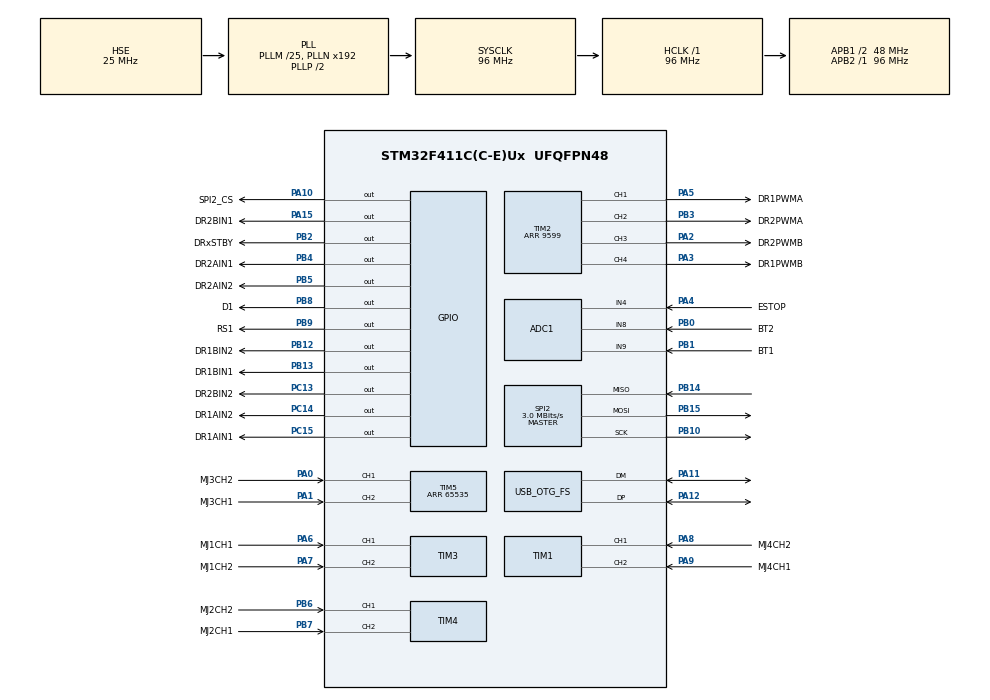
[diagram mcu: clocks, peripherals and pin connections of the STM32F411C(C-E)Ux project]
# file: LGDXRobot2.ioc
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ADC1.Channel-0\#ChannelRegularConversion=ADC_CHANNEL_9
ADC1.Channel-1\#ChannelRegularConversion=ADC_CHANNEL_8
ADC1.Channel-2\#ChannelRegularConversion=ADC_CHANNEL_4
ADC1.NbrOfConversion=3
ADC1.NbrOfConversionFlag=1
ADC1.Rank-0\#ChannelRegularConversion=1
ADC1.Rank-1\#ChannelRegularConversion=2
ADC1.Rank-2\#ChannelRegularConversion=3
ADC1.SamplingTime-0\#ChannelRegularConversion=ADC_SAMPLETIME_480CYCLES
ADC1.SamplingTime-1\#ChannelRegularConversion=ADC_SAMPLETIME_480CYCLES
ADC1.SamplingTime-2\#ChannelRegularConversion=ADC_SAMPLETIME_480CYCLES
ADC1.ScanConvMode=ENABLE
ADC1.master=1
Dma.ADC1.0.Direction=DMA_PERIPH_TO_MEMORY
Dma.ADC1.0.FIFOMode=DMA_FIFOMODE_DISABLE
Dma.ADC1.0.Instance=DMA2_Stream0
Dma.ADC1.0.MemDataAlignment=DMA_MDATAALIGN_WORD
Dma.ADC1.0.MemInc=DMA_MINC_ENABLE
Dma.ADC1.0.Mode=DMA_CIRCULAR
Dma.ADC1.0.PeriphDataAlignment=DMA_PDATAALIGN_WORD
Dma.ADC1.0.PeriphInc=DMA_PINC_DISABLE
Dma.ADC1.0.Priority=DMA_PRIORITY_LOW
Dma.Request0=ADC1
Mcu.Family=STM32F4
Mcu.Name=STM32F411C(C-E)Ux
Mcu.Package=UFQFPN48
NVIC.DMA2_Stream0_IRQn=true\:0\:0\:false\:false\:true\:false\:true\:true
NVIC.OTG_FS_IRQn=true\:0\:0\:false\:false\:true\:true\:true\:true
NVIC.PriorityGroup=NVIC_PRIORITYGROUP_4
NVIC.SPI2_IRQn=true\:0\:0\:false\:false\:true\:true\:true\:true
NVIC.TIM1_BRK_TIM9_IRQn=true\:0\:0\:false\:false\:true\:true\:true\:true
PA0-WKUP.GPIO_Label=MJ3CH2
PA0-WKUP.Signal=S_TIM5_CH1
PA1.GPIO_Label=MJ3CH1
PA1.Signal=S_TIM5_CH2
PA10.GPIO_Label=SPI2_CS
PA10.Signal=GPIO_Output
PA11.Mode=Device_Only
PA11.Signal=USB_OTG_FS_DM
PA12.Mode=Device_Only
PA12.Signal=USB_OTG_FS_DP
PA15.GPIO_Label=DR2BIN1
PA15.Signal=GPIO_Output
PA2.GPIO_Label=DR2PWMB
PA2.Signal=S_TIM2_CH3
PA3.GPIO_Label=DR1PWMB
PA3.Signal=S_TIM2_CH4
PA4.GPIO_Label=ESTOP
PA4.Signal=ADCx_IN4
PA5.GPIO_Label=DR1PWMA
PA5.Signal=S_TIM2_CH1_ETR
PA6.GPIO_Label=MJ1CH1
PA6.Signal=S_TIM3_CH1
PA7.GPIO_Label=MJ1CH2
PA7.Signal=S_TIM3_CH2
PA8.GPIO_Label=MJ4CH2
PA8.Signal=S_TIM1_CH1
PA9.GPIO_Label=MJ4CH1
PA9.Signal=S_TIM1_CH2
PB0.GPIO_Label=BT2
PB0.Signal=ADCx_IN8
PB1.GPIO_Label=BT1
PB1.Signal=ADCx_IN9
PB10.Mode=Full_Duplex_Master
PB10.Signal=SPI2_SCK
PB12.GPIO_Label=DR1BIN2
PB12.Signal=GPIO_Output
PB13.GPIO_Label=DR1BIN1
PB13.Signal=GPIO_Output
PB14.Mode=Full_Duplex_Master
PB14.Signal=SPI2_MISO
PB15.Mode=Full_Duplex_Master
PB15.Signal=SPI2_MOSI
PB2.GPIO_Label=DRxSTBY
PB2.Signal=GPIO_Output
PB3.GPIO_Label=DR2PWMA
PB3.Signal=S_TIM2_CH2
PB4.GPIO_Label=DR2AIN1
PB4.Signal=GPIO_Output
PB5.GPIO_Label=DR2AIN2
PB5.Signal=GPIO_Output
PB6.GPIO_Label=MJ2CH2
PB6.Signal=S_TIM4_CH1
PB7.GPIO_Label=MJ2CH1
PB7.Signal=S_TIM4_CH2
PB8.GPIO_Label=D1
PB8.Signal=GPIO_Output
PB9.GPIO_Label=RS1
PB9.Signal=GPIO_Output
PC13-ANTI_TAMP.GPIO_Label=DR2BIN2
PC13-ANTI_TAMP.Signal=GPIO_Output
PC14-OSC32_IN.GPIO_Label=DR1AIN2
PC14-OSC32_IN.Signal=GPIO_Output
PC15-OSC32_OUT.GPIO_Label=DR1AIN1
PC15-OSC32_OUT.Signal=GPIO_Output
PH0\ -\ OSC_IN.Mode=HSE-External-Oscillator
PH0\ -\ OSC_IN.Signal=RCC_OSC_IN
PH1\ -\ OSC_OUT.Mode=HSE-External-Oscillator
PH1\ -\ OSC_OUT.Signal=RCC_OSC_OUT
ProjectManager.HeapSize=0x200
ProjectManager.StackSize=0x400
ProjectManager.TargetToolchain=CMake
RCC.48MHZClocksFreq_Value=48000000
RCC.AHBFreq_Value=96000000
RCC.APB1CLKDivider=RCC_HCLK_DIV2
RCC.APB1Freq_Value=48000000
RCC.APB1TimFreq_Value=96000000
RCC.APB2Freq_Value=96000000
RCC.APB2TimFreq_Value=96000000
RCC.CortexFreq_Value=96000000
RCC.HCLKFreq_Value=96000000
RCC.HSE_VALUE=25000000
RCC.HSI_VALUE=16000000
RCC.LSE_VALUE=32768
RCC.PLLM=25
RCC.SYSCLKFreq_VALUE=96000000
RCC.SYSCLKSource=RCC_SYSCLKSOURCE_PLLCLK
RCC.VCOOutputFreq_Value=192000000
SH.ADCx_IN4.0=ADC1_IN4,IN4
SH.ADCx_IN8.0=ADC1_IN8,IN8
SH.ADCx_IN9.0=ADC1_IN9,IN9
SH.S_TIM1_CH1.0=TIM1_CH1,Encoder_Interface
SH.S_TIM1_CH2.0=TIM1_CH2,Encoder_Interface
SH.S_TIM2_CH1_ETR.0=TIM2_CH1,PWM Generation1 CH1
SH.S_TIM2_CH2.0=TIM2_CH2,PWM Generation2 CH2
SH.S_TIM2_CH3.0=TIM2_CH3,PWM Generation3 CH3
SH.S_TIM2_CH4.0=TIM2_CH4,PWM Generation4 CH4
SH.S_TIM3_CH1.0=TIM3_CH1,Encoder_Interface
SH.S_TIM3_CH2.0=TIM3_CH2,Encoder_Interface
SH.S_TIM4_CH1.0=TIM4_CH1,Encoder_Interface
SH.S_TIM4_CH2.0=TIM4_CH2,Encoder_Interface
SH.S_TIM5_CH1.0=TIM5_CH1,Encoder_Interface
SH.S_TIM5_CH2.0=TIM5_CH2,Encoder_Interface
SPI2.BaudRatePrescaler=SPI_BAUDRATEPRESCALER_16
SPI2.CLKPhase=SPI_PHASE_2EDGE
SPI2.CLKPolarity=SPI_POLARITY_HIGH
SPI2.CalculateBaudRate=3.0 MBits/s
SPI2.Direction=SPI_DIRECTION_2LINES
SPI2.Mode=SPI_MODE_MASTER
SPI2.VirtualType=VM_MASTER
TIM1.EncoderMode=TIM_ENCODERMODE_TI12
TIM1.IC1Filter=10
TIM1.IC2Filter=10
TIM2.Channel-PWM\ Generation1\ CH1=TIM_CHANNEL_1
TIM2.Channel-PWM\ Generation2\ CH2=TIM_CHANNEL_2
TIM2.Channel-PWM\ Generation3\ CH3=TIM_CHANNEL_3
TIM2.Channel-PWM\ Generation4\ CH4=TIM_CHANNEL_4
TIM2.Period=9599
TIM3.EncoderMode=TIM_ENCODERMODE_TI12
TIM3.IC1Filter=10
TIM3.IC2Filter=10
TIM4.EncoderMode=TIM_ENCODERMODE_TI12
TIM4.IC1Filter=10
TIM4.IC2Filter=10
TIM5.CounterMode=TIM_COUNTERMODE_UP
TIM5.EncoderMode=TIM_ENCODERMODE_TI12
TIM5.IC1Filter=10
TIM5.IC1Polarity=TIM_ICPOLARITY_RISING
TIM5.IC2Filter=10
TIM5.Period=65535
TIM9.Period=59999
TIM9.Prescaler=15
USB_DEVICE.CLASS_NAME_FS=CDC
USB_DEVICE.MANUFACTURER_STRING=LGDXRobotics
USB_DEVICE.PID_CDC_FS=30345
USB_DEVICE.PRODUCT_STRING_CDC_FS=\ LGDXRobot2
USB_DEVICE.VID=4617
USB_DEVICE.VirtualMode=Cdc
USB_DEVICE.VirtualModeFS=Cdc_FS
USB_OTG_FS.VirtualMode=Device_Only
VP_TIM2_VS_ClockSourceINT.Mode=Internal
VP_TIM9_VS_ClockSourceINT.Mode=Internal
VP_USB_DEVICE_VS_USB_DEVICE_CDC_FS.Mode=CDC_FS
board=custom

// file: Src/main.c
/* USER CODE BEGIN Header */
/**
  ******************************************************************************
  * @file           : main.c
  * @brief          : Main program body
  ******************************************************************************
  * @attention
  *
  * Copyright (c) 2025 STMicroelectronics.
  * All rights reserved.
  *
  * This software is licensed under terms that can be found in the LICENSE file
  * in the root directory of this software component.
  * If no LICENSE file comes with this software, it is provided AS-IS.
  *
  ******************************************************************************
  */
/* USER CODE END Header */
#include "main.h"
#include "usb_device.h"

/* USER CODE BEGIN Includes */
#include "configuation.h"
#include "motor.h"
#include "estop.h"
#include "power.h"
#include "imu.h"
#include "usbd_cdc_if.h"

/* USER CODE END Includes */

ADC_HandleTypeDef hadc1;
DMA_HandleTypeDef hdma_adc1;

SPI_HandleTypeDef hspi2;

TIM_HandleTypeDef htim1;
TIM_HandleTypeDef htim2;
TIM_HandleTypeDef htim3;
TIM_HandleTypeDef htim4;
TIM_HandleTypeDef htim5;
TIM_HandleTypeDef htim9;

/* USER CODE BEGIN PV */
McuData mcu_data = {0};

/* USER CODE END PV */

void SystemClock_Config(void);
static void MX_GPIO_Init(void);
static void MX_DMA_Init(void);
static void MX_TIM1_Init(void);
static void MX_TIM2_Init(void);
static void MX_TIM3_Init(void);
static void MX_TIM4_Init(void);
static void MX_TIM5_Init(void);
static void MX_TIM9_Init(void);
static void MX_ADC1_Init(void);
static void MX_SPI2_Init(void);

/* USER CODE BEGIN 0 */
void Handling_Mcu_Data()
{
  mcu_data.header1 = MCU_HEADER1;
  mcu_data.header2 = MCU_HEADER2;
  mcu_data.header3 = MCU_HEADER3;
  mcu_data.header4 = MCU_HEADER4;
  mcu_data.type = MCU_DATA_TYPE;
  mcu_data.response_time = MOTOR_Get_Pid_Elapsed();
  mcu_data.transform.x = MOTOR_Get_Transform(0);
  mcu_data.transform.y = MOTOR_Get_Transform(1);
  mcu_data.transform.rotation = MOTOR_Get_Transform(2);
  mcu_data.forward_kinematic.x = MOTOR_Get_Forward_Kinematic(0);
  mcu_data.forward_kinematic.y = MOTOR_Get_Forward_Kinematic(1);
  mcu_data.forward_kinematic.rotation = MOTOR_Get_Forward_Kinematic(2);
  for (int i = 0; i < API_MOTOR_COUNT; i++)
  {
    mcu_data.motors_target_velocity[i] = MOTOR_Get_Target_Velocity(i);
    mcu_data.motors_actual_velocity[i] = MOTOR_Get_Actual_Velocity(i);
    mcu_data.motors_desire_velocity[i] = MOTOR_Get_Desired_Velocity(i);
  }
  mcu_data.motors_ccr[0] = TIM2->CCR4;
  mcu_data.motors_ccr[1] = TIM2->CCR2;
  mcu_data.motors_ccr[2] = TIM2->CCR1;
  mcu_data.motors_ccr[3] = TIM2->CCR3;
  mcu_data.battery1.voltage = POWER_Get_Value(logic_battery);
  mcu_data.battery2.voltage = POWER_Get_Value(actuator_battery);
  mcu_data.software_emergency_stop_enabled = ESTOP_Get_Status(software_emergency_stop);
  mcu_data.hardware_emergency_stop_enabled = ESTOP_Get_Status(hardware_emergency_stop);
  mcu_data.bettery_low_emergency_stop_enabled = ESTOP_Get_Status(bettery_low_emergency_stop);
  mcu_data.imu = IMU_Get_Data();
  CDC_Transmit_FS((uint8_t*) &mcu_data, sizeof(McuData));
}

void HAL_TIM_PeriodElapsedCallback(TIM_HandleTypeDef *htim)
{
	if(htim->Instance == htim9.Instance)
	{
		MOTOR_PID();
    Handling_Mcu_Data();
    IMU_Read_Start(); // This read power to pevent conflict
	}
}

/* USER CODE END 0 */

int main(void)
{

  /* MCU Configuration--------------------------------------------------------*/

  /* Reset of all peripherals, Initializes the Flash interface and the Systick. */
  HAL_Init();

  /* Configure the system clock */
  SystemClock_Config();

  /* Initialize all configured peripherals */
  MX_GPIO_Init();
  MX_DMA_Init();
  MX_TIM1_Init();
  MX_TIM2_Init();
  MX_TIM3_Init();
  MX_TIM4_Init();
  MX_TIM5_Init();
  MX_TIM9_Init();
  MX_USB_DEVICE_Init();
  MX_ADC1_Init();
  MX_SPI2_Init();
  /* USER CODE BEGIN 2 */
  HAL_GPIO_WritePin(D1_GPIO_Port, D1_Pin, GPIO_PIN_SET);
  IMU_Init(&hspi2);
  POWER_Init(&hadc1);
  MOTOR_Init(&htim2, &htim3, &htim4, &htim5, &htim1);
  ESTOP_Init();

	HAL_TIM_Base_Start_IT(&htim9);

  MOTOR_Reset_Transform();
  MOTOR_Set_Ik(0, 0, 0);

  /* USER CODE END 2 */

  /* Infinite loop */
  while (1)
  {

  }
}

void SystemClock_Config(void)
{
  RCC_OscInitTypeDef RCC_OscInitStruct = {0};
  RCC_ClkInitTypeDef RCC_ClkInitStruct = {0};

  /** Configure the main internal regulator output voltage
  */
  __HAL_RCC_PWR_CLK_ENABLE();
  __HAL_PWR_VOLTAGESCALING_CONFIG(PWR_REGULATOR_VOLTAGE_SCALE1);

  /** Initializes the RCC Oscillators according to the specified parameters
  * in the RCC_OscInitTypeDef structure.
  */
  RCC_OscInitStruct.OscillatorType = RCC_OSCILLATORTYPE_HSE;
  RCC_OscInitStruct.HSEState = RCC_HSE_ON;
  RCC_OscInitStruct.PLL.PLLState = RCC_PLL_ON;
  RCC_OscInitStruct.PLL.PLLSource = RCC_PLLSOURCE_HSE;
  RCC_OscInitStruct.PLL.PLLM = 25;
  RCC_OscInitStruct.PLL.PLLN = 192;
  RCC_OscInitStruct.PLL.PLLP = RCC_PLLP_DIV2;
  RCC_OscInitStruct.PLL.PLLQ = 4;
  if (HAL_RCC_OscConfig(&RCC_OscInitStruct) != HAL_OK)
  {
    Error_Handler();
  }

  /** Initializes the CPU, AHB and APB buses clocks
  */
  RCC_ClkInitStruct.ClockType = RCC_CLOCKTYPE_HCLK|RCC_CLOCKTYPE_SYSCLK
                              |RCC_CLOCKTYPE_PCLK1|RCC_CLOCKTYPE_PCLK2;
  RCC_ClkInitStruct.SYSCLKSource = RCC_SYSCLKSOURCE_PLLCLK;
  RCC_ClkInitStruct.AHBCLKDivider = RCC_SYSCLK_DIV1;
  RCC_ClkInitStruct.APB1CLKDivider = RCC_HCLK_DIV2;
  RCC_ClkInitStruct.APB2CLKDivider = RCC_HCLK_DIV1;

  if (HAL_RCC_ClockConfig(&RCC_ClkInitStruct, FLASH_LATENCY_3) != HAL_OK)
  {
    Error_Handler();
  }
}

static void MX_ADC1_Init(void)
{

  ADC_ChannelConfTypeDef sConfig = {0};

  /** Configure the global features of the ADC (Clock, Resolution, Data Alignment and number of conversion)
  */
  hadc1.Instance = ADC1;
  hadc1.Init.ClockPrescaler = ADC_CLOCK_SYNC_PCLK_DIV4;
  hadc1.Init.Resolution = ADC_RESOLUTION_12B;
  hadc1.Init.ScanConvMode = ENABLE;
  hadc1.Init.ContinuousConvMode = DISABLE;
  hadc1.Init.DiscontinuousConvMode = DISABLE;
  hadc1.Init.ExternalTrigConvEdge = ADC_EXTERNALTRIGCONVEDGE_NONE;
  hadc1.Init.ExternalTrigConv = ADC_SOFTWARE_START;
  hadc1.Init.DataAlign = ADC_DATAALIGN_RIGHT;
  hadc1.Init.NbrOfConversion = 3;
  hadc1.Init.DMAContinuousRequests = DISABLE;
  hadc1.Init.EOCSelection = ADC_EOC_SINGLE_CONV;
  if (HAL_ADC_Init(&hadc1) != HAL_OK)
  {
    Error_Handler();
  }

  /** Configure for the selected ADC regular channel its corresponding rank in the sequencer and its sample time.
  */
  sConfig.Channel = ADC_CHANNEL_9;
  sConfig.Rank = 1;
  sConfig.SamplingTime = ADC_SAMPLETIME_480CYCLES;
  if (HAL_ADC_ConfigChannel(&hadc1, &sConfig) != HAL_OK)
  {
    Error_Handler();
  }

  /** Configure for the selected ADC regular channel its corresponding rank in the sequencer and its sample time.
  */
  sConfig.Channel = ADC_CHANNEL_8;
  sConfig.Rank = 2;
  if (HAL_ADC_ConfigChannel(&hadc1, &sConfig) != HAL_OK)
  {
    Error_Handler();
  }

  /** Configure for the selected ADC regular channel its corresponding rank in the sequencer and its sample time.
  */
  sConfig.Channel = ADC_CHANNEL_4;
  sConfig.Rank = 3;
  if (HAL_ADC_ConfigChannel(&hadc1, &sConfig) != HAL_OK)
  {
    Error_Handler();
  }

}

static void MX_SPI2_Init(void)
{

  /* SPI2 parameter configuration*/
  hspi2.Instance = SPI2;
  hspi2.Init.Mode = SPI_MODE_MASTER;
  hspi2.Init.Direction = SPI_DIRECTION_2LINES;
  hspi2.Init.DataSize = SPI_DATASIZE_8BIT;
  hspi2.Init.CLKPolarity = SPI_POLARITY_HIGH;
  hspi2.Init.CLKPhase = SPI_PHASE_2EDGE;
  hspi2.Init.NSS = SPI_NSS_SOFT;
  hspi2.Init.BaudRatePrescaler = SPI_BAUDRATEPRESCALER_16;
  hspi2.Init.FirstBit = SPI_FIRSTBIT_MSB;
  hspi2.Init.TIMode = SPI_TIMODE_DISABLE;
  hspi2.Init.CRCCalculation = SPI_CRCCALCULATION_DISABLE;
  hspi2.Init.CRCPolynomial = 10;
  if (HAL_SPI_Init(&hspi2) != HAL_OK)
  {
    Error_Handler();
  }

}

static void MX_TIM1_Init(void)
{

  TIM_Encoder_InitTypeDef sConfig = {0};
  TIM_MasterConfigTypeDef sMasterConfig = {0};

  htim1.Instance = TIM1;
  htim1.Init.Prescaler = 0;
  htim1.Init.CounterMode = TIM_COUNTERMODE_UP;
  htim1.Init.Period = 65535;
  htim1.Init.ClockDivision = TIM_CLOCKDIVISION_DIV1;
  htim1.Init.RepetitionCounter = 0;
  htim1.Init.AutoReloadPreload = TIM_AUTORELOAD_PRELOAD_DISABLE;
  sConfig.EncoderMode = TIM_ENCODERMODE_TI12;
  sConfig.IC1Polarity = TIM_ICPOLARITY_RISING;
  sConfig.IC1Selection = TIM_ICSELECTION_DIRECTTI;
  sConfig.IC1Prescaler = TIM_ICPSC_DIV1;
  sConfig.IC1Filter = 10;
  sConfig.IC2Polarity = TIM_ICPOLARITY_RISING;
  sConfig.IC2Selection = TIM_ICSELECTION_DIRECTTI;
  sConfig.IC2Prescaler = TIM_ICPSC_DIV1;
  sConfig.IC2Filter = 10;
  if (HAL_TIM_Encoder_Init(&htim1, &sConfig) != HAL_OK)
  {
    Error_Handler();
  }
  sMasterConfig.MasterOutputTrigger = TIM_TRGO_RESET;
  sMasterConfig.MasterSlaveMode = TIM_MASTERSLAVEMODE_DISABLE;
  if (HAL_TIMEx_MasterConfigSynchronization(&htim1, &sMasterConfig) != HAL_OK)
  {
    Error_Handler();
  }

}

static void MX_TIM2_Init(void)
{

  TIM_ClockConfigTypeDef sClockSourceConfig = {0};
  TIM_MasterConfigTypeDef sMasterConfig = {0};
  TIM_OC_InitTypeDef sConfigOC = {0};

  htim2.Instance = TIM2;
  htim2.Init.Prescaler = 0;
  htim2.Init.CounterMode = TIM_COUNTERMODE_UP;
  htim2.Init.Period = 9599;
  htim2.Init.ClockDivision = TIM_CLOCKDIVISION_DIV1;
  htim2.Init.AutoReloadPreload = TIM_AUTORELOAD_PRELOAD_DISABLE;
  if (HAL_TIM_Base_Init(&htim2) != HAL_OK)
  {
    Error_Handler();
  }
  sClockSourceConfig.ClockSource = TIM_CLOCKSOURCE_INTERNAL;
  if (HAL_TIM_ConfigClockSource(&htim2, &sClockSourceConfig) != HAL_OK)
  {
    Error_Handler();
  }
  if (HAL_TIM_PWM_Init(&htim2) != HAL_OK)
  {
    Error_Handler();
  }
  sMasterConfig.MasterOutputTrigger = TIM_TRGO_RESET;
  sMasterConfig.MasterSlaveMode = TIM_MASTERSLAVEMODE_DISABLE;
  if (HAL_TIMEx_MasterConfigSynchronization(&htim2, &sMasterConfig) != HAL_OK)
  {
    Error_Handler();
  }
  sConfigOC.OCMode = TIM_OCMODE_PWM1;
  sConfigOC.Pulse = 0;
  sConfigOC.OCPolarity = TIM_OCPOLARITY_HIGH;
  sConfigOC.OCFastMode = TIM_OCFAST_DISABLE;
  if (HAL_TIM_PWM_ConfigChannel(&htim2, &sConfigOC, TIM_CHANNEL_1) != HAL_OK)
  {
    Error_Handler();
  }
  if (HAL_TIM_PWM_ConfigChannel(&htim2, &sConfigOC, TIM_CHANNEL_2) != HAL_OK)
  {
    Error_Handler();
  }
  if (HAL_TIM_PWM_ConfigChannel(&htim2, &sConfigOC, TIM_CHANNEL_3) != HAL_OK)
  {
    Error_Handler();
  }
  if (HAL_TIM_PWM_ConfigChannel(&htim2, &sConfigOC, TIM_CHANNEL_4) != HAL_OK)
  {
    Error_Handler();
  }
  HAL_TIM_MspPostInit(&htim2);

}

static void MX_TIM3_Init(void)
{

  TIM_Encoder_InitTypeDef sConfig = {0};
  TIM_MasterConfigTypeDef sMasterConfig = {0};

  htim3.Instance = TIM3;
  htim3.Init.Prescaler = 0;
  htim3.Init.CounterMode = TIM_COUNTERMODE_UP;
  htim3.Init.Period = 65535;
  htim3.Init.ClockDivision = TIM_CLOCKDIVISION_DIV1;
  htim3.Init.AutoReloadPreload = TIM_AUTORELOAD_PRELOAD_DISABLE;
  sConfig.EncoderMode = TIM_ENCODERMODE_TI12;
  sConfig.IC1Polarity = TIM_ICPOLARITY_RISING;
  sConfig.IC1Selection = TIM_ICSELECTION_DIRECTTI;
  sConfig.IC1Prescaler = TIM_ICPSC_DIV1;
  sConfig.IC1Filter = 10;
  sConfig.IC2Polarity = TIM_ICPOLARITY_RISING;
  sConfig.IC2Selection = TIM_ICSELECTION_DIRECTTI;
  sConfig.IC2Prescaler = TIM_ICPSC_DIV1;
  sConfig.IC2Filter = 10;
  if (HAL_TIM_Encoder_Init(&htim3, &sConfig) != HAL_OK)
  {
    Error_Handler();
  }
  sMasterConfig.MasterOutputTrigger = TIM_TRGO_RESET;
  sMasterConfig.MasterSlaveMode = TIM_MASTERSLAVEMODE_DISABLE;
  if (HAL_TIMEx_MasterConfigSynchronization(&htim3, &sMasterConfig) != HAL_OK)
  {
    Error_Handler();
  }

}

static void MX_TIM4_Init(void)
{

  TIM_Encoder_InitTypeDef sConfig = {0};
  TIM_MasterConfigTypeDef sMasterConfig = {0};

  htim4.Instance = TIM4;
  htim4.Init.Prescaler = 0;
  htim4.Init.CounterMode = TIM_COUNTERMODE_UP;
  htim4.Init.Period = 65535;
  htim4.Init.ClockDivision = TIM_CLOCKDIVISION_DIV1;
  htim4.Init.AutoReloadPreload = TIM_AUTORELOAD_PRELOAD_DISABLE;
  sConfig.EncoderMode = TIM_ENCODERMODE_TI12;
  sConfig.IC1Polarity = TIM_ICPOLARITY_RISING;
  sConfig.IC1Selection = TIM_ICSELECTION_DIRECTTI;
  sConfig.IC1Prescaler = TIM_ICPSC_DIV1;
  sConfig.IC1Filter = 10;
  sConfig.IC2Polarity = TIM_ICPOLARITY_RISING;
  sConfig.IC2Selection = TIM_ICSELECTION_DIRECTTI;
  sConfig.IC2Prescaler = TIM_ICPSC_DIV1;
  sConfig.IC2Filter = 10;
  if (HAL_TIM_Encoder_Init(&htim4, &sConfig) != HAL_OK)
  {
    Error_Handler();
  }
  sMasterConfig.MasterOutputTrigger = TIM_TRGO_RESET;
  sMasterConfig.MasterSlaveMode = TIM_MASTERSLAVEMODE_DISABLE;
  if (HAL_TIMEx_MasterConfigSynchronization(&htim4, &sMasterConfig) != HAL_OK)
  {
    Error_Handler();
  }

}

static void MX_TIM5_Init(void)
{

  TIM_Encoder_InitTypeDef sConfig = {0};
  TIM_MasterConfigTypeDef sMasterConfig = {0};

  htim5.Instance = TIM5;
  htim5.Init.Prescaler = 0;
  htim5.Init.CounterMode = TIM_COUNTERMODE_UP;
  htim5.Init.Period = 65535;
  htim5.Init.ClockDivision = TIM_CLOCKDIVISION_DIV1;
  htim5.Init.AutoReloadPreload = TIM_AUTORELOAD_PRELOAD_DISABLE;
  sConfig.EncoderMode = TIM_ENCODERMODE_TI12;
  sConfig.IC1Polarity = TIM_ICPOLARITY_RISING;
  sConfig.IC1Selection = TIM_ICSELECTION_DIRECTTI;
  sConfig.IC1Prescaler = TIM_ICPSC_DIV1;
  sConfig.IC1Filter = 10;
  sConfig.IC2Polarity = TIM_ICPOLARITY_RISING;
  sConfig.IC2Selection = TIM_ICSELECTION_DIRECTTI;
  sConfig.IC2Prescaler = TIM_ICPSC_DIV1;
  sConfig.IC2Filter = 10;
  if (HAL_TIM_Encoder_Init(&htim5, &sConfig) != HAL_OK)
  {
    Error_Handler();
  }
  sMasterConfig.MasterOutputTrigger = TIM_TRGO_RESET;
  sMasterConfig.MasterSlaveMode = TIM_MASTERSLAVEMODE_DISABLE;
  if (HAL_TIMEx_MasterConfigSynchronization(&htim5, &sMasterConfig) != HAL_OK)
  {
    Error_Handler();
  }

}

static void MX_TIM9_Init(void)
{

  TIM_ClockConfigTypeDef sClockSourceConfig = {0};

  htim9.Instance = TIM9;
  htim9.Init.Prescaler = 15;
  htim9.Init.CounterMode = TIM_COUNTERMODE_UP;
  htim9.Init.Period = 59999;
  htim9.Init.ClockDivision = TIM_CLOCKDIVISION_DIV1;
  htim9.Init.AutoReloadPreload = TIM_AUTORELOAD_PRELOAD_DISABLE;
  if (HAL_TIM_Base_Init(&htim9) != HAL_OK)
  {
    Error_Handler();
  }
  sClockSourceConfig.ClockSource = TIM_CLOCKSOURCE_INTERNAL;
  if (HAL_TIM_ConfigClockSource(&htim9, &sClockSourceConfig) != HAL_OK)
  {
    Error_Handler();
  }

}

static void MX_DMA_Init(void)
{

  /* DMA controller clock enable */
  __HAL_RCC_DMA2_CLK_ENABLE();

  /* DMA interrupt init */
  /* DMA2_Stream0_IRQn interrupt configuration */
  HAL_NVIC_SetPriority(DMA2_Stream0_IRQn, 0, 0);
  HAL_NVIC_EnableIRQ(DMA2_Stream0_IRQn);

}

static void MX_GPIO_Init(void)
{
  GPIO_InitTypeDef GPIO_InitStruct = {0};

  /* GPIO Ports Clock Enable */
  __HAL_RCC_GPIOC_CLK_ENABLE();
  __HAL_RCC_GPIOH_CLK_ENABLE();
  __HAL_RCC_GPIOA_CLK_ENABLE();
  __HAL_RCC_GPIOB_CLK_ENABLE();

  /*Configure GPIO pin Output Level */
  HAL_GPIO_WritePin(GPIOC, DR2BIN2_Pin|DR1AIN2_Pin|DR1AIN1_Pin, GPIO_PIN_RESET);

  /*Configure GPIO pin Output Level */
  HAL_GPIO_WritePin(GPIOB, DRxSTBY_Pin|DR1BIN2_Pin|DR1BIN1_Pin|DR2AIN1_Pin
                          |DR2AIN2_Pin|D1_Pin|RS1_Pin, GPIO_PIN_RESET);

  /*Configure GPIO pin Output Level */
  HAL_GPIO_WritePin(GPIOA, SPI2_CS_Pin|DR2BIN1_Pin, GPIO_PIN_RESET);

  /*Configure GPIO pins : DR2BIN2_Pin DR1AIN2_Pin DR1AIN1_Pin */
  GPIO_InitStruct.Pin = DR2BIN2_Pin|DR1AIN2_Pin|DR1AIN1_Pin;
  GPIO_InitStruct.Mode = GPIO_MODE_OUTPUT_PP;
  GPIO_InitStruct.Pull = GPIO_NOPULL;
  GPIO_InitStruct.Speed = GPIO_SPEED_FREQ_LOW;
  HAL_GPIO_Init(GPIOC, &GPIO_InitStruct);

  /*Configure GPIO pins : DRxSTBY_Pin DR1BIN2_Pin DR1BIN1_Pin DR2AIN1_Pin
                           DR2AIN2_Pin D1_Pin RS1_Pin */
  GPIO_InitStruct.Pin = DRxSTBY_Pin|DR1BIN2_Pin|DR1BIN1_Pin|DR2AIN1_Pin
                          |DR2AIN2_Pin|D1_Pin|RS1_Pin;
  GPIO_InitStruct.Mode = GPIO_MODE_OUTPUT_PP;
  GPIO_InitStruct.Pull = GPIO_NOPULL;
  GPIO_InitStruct.Speed = GPIO_SPEED_FREQ_LOW;
  HAL_GPIO_Init(GPIOB, &GPIO_InitStruct);

  /*Configure GPIO pins : SPI2_CS_Pin DR2BIN1_Pin */
  GPIO_InitStruct.Pin = SPI2_CS_Pin|DR2BIN1_Pin;
  GPIO_InitStruct.Mode = GPIO_MODE_OUTPUT_PP;
  GPIO_InitStruct.Pull = GPIO_NOPULL;
  GPIO_InitStruct.Speed = GPIO_SPEED_FREQ_LOW;
  HAL_GPIO_Init(GPIOA, &GPIO_InitStruct);

}

void Error_Handler(void)
{
  __disable_irq();
  while (1)
  {
  }
}
